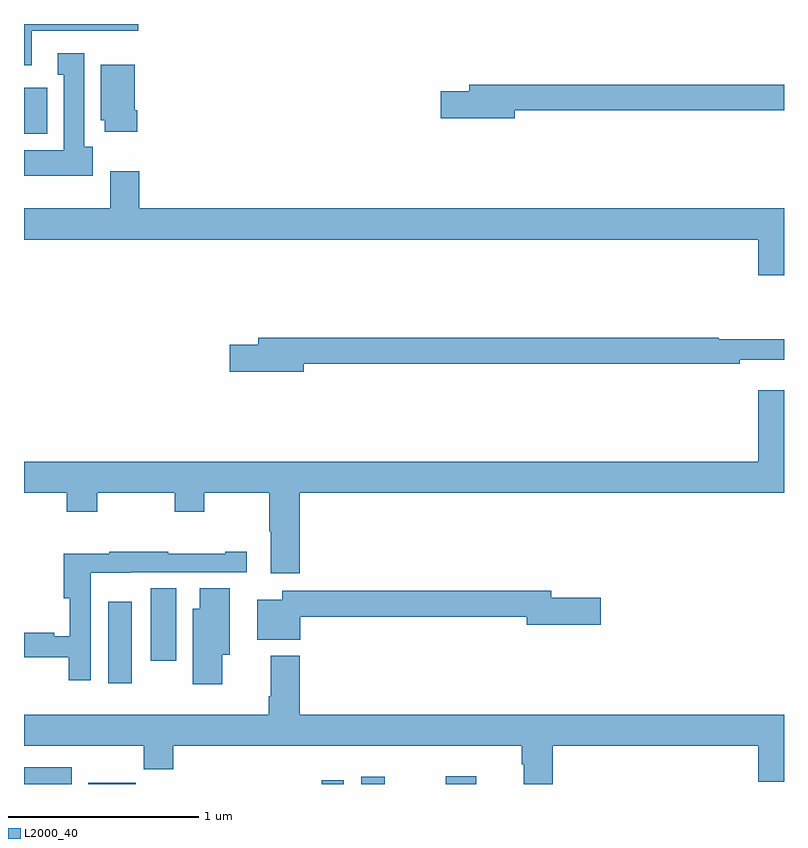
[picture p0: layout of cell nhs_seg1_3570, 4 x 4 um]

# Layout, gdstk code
import gdstk
lib = gdstk.Library(unit=1e-6, precision=1e-09)
def R(c, l, rs):  # rectangles x0, y0, x1, y1
    for r in rs: c.add(gdstk.rectangle(r[:2], r[2:], *l))
def P(c, l, *ps):  # polygons
    for p in ps: c.add(gdstk.Polygon(p, *l))
L2000_40 = (2000, 40)

nhs_seg1_3570 = lib.new_cell('nhs_seg1_3570')
R(nhs_seg1_3570, L2000_40, [(305,550.199,305.251,550.288), (305.339,550.199,305.588,550.206), (306.568,550.199,306.684,550.219), (306.776,550.199,306.898,550.237), (307.22,550.199,307.381,550.24), (305.444,550.728,305.566,551.158), (305.666,550.848,305.8,551.228), (305,553.622,305.122,553.864)])
P(nhs_seg1_3570, L2000_40, [(305.041,554.163),(305.602,554.163),(305.602,554.199),(305,554.199),(305,553.982),(305.041,553.982)],
  [(305.362,553.554),(305.317,553.554),(305.317,554.044),(305.177,554.044),(305.177,553.931),(305.21,553.931),(305.21,553.534),(305,553.534),(305,553.4),(305.362,553.4)],
  [(305.597,553.744),(305.584,553.744),(305.584,553.984),(305.405,553.984),(305.405,553.692),(305.426,553.692),(305.426,553.632),(305.597,553.632)],
  [(307.582,553.744),(309,553.744),(309,553.88),(307.343,553.88),(307.343,553.844),(307.194,553.844),(307.194,553.702),(307.582,553.702)],
  [(309,553.228),(305.606,553.228),(305.606,553.423),(305.453,553.423),(305.453,553.228),(305,553.228),(305,553.064),(308.864,553.064),(308.864,552.876),(309,552.876)],
  [(306.472,552.412),(308.768,552.412),(308.768,552.431),(309,552.431),(309,552.541),(308.656,552.541),(308.656,552.548),(306.233,552.548),(306.233,552.512),(306.084,552.512),(306.084,552.37),(306.472,552.37)],
  [(305,551.732),(305.225,551.732),(305.225,551.633),(305.385,551.633),(305.385,551.732),(305.794,551.732),(305.794,551.633),(305.949,551.633),(305.949,551.732),(306.292,551.732),(306.292,551.528),(306.299,551.528),(306.299,551.307),(306.452,551.307),(306.452,551.732),(309,551.732),(309,552.271),(308.864,552.271),(308.864,551.896),(305,551.896)],
  [(305.352,551.312),(305.562,551.312),(305.562,551.313),(306.172,551.313),(306.172,551.422),(306.059,551.422),(306.059,551.412),(305.759,551.412),(305.759,551.422),(305.449,551.422),(305.449,551.412),(305.21,551.412),(305.21,551.177),(305.24,551.177),(305.24,550.976),(305.159,550.976),(305.159,550.994),(305,550.994),(305,550.866),(305.236,550.866),(305.236,550.746),(305.352,550.746)],
  [(306.043,550.88),(306.082,550.88),(306.082,551.228),(305.924,551.228),(305.924,551.122),(305.888,551.122),(305.888,550.725),(306.043,550.725)],
  [(306.454,551.08),(307.646,551.08),(307.646,551.038),(308.035,551.038),(308.035,551.18),(307.774,551.18),(307.774,551.216),(306.36,551.216),(306.36,551.17),(306.227,551.17),(306.227,550.958),(306.454,550.958)],
  [(307.619,550.304),(307.631,550.304),(307.631,550.199),(307.784,550.199),(307.784,550.4),(308.864,550.4),(308.864,550.212),(309,550.212),(309,550.564),(306.452,550.564),(306.452,550.873),(306.299,550.873),(306.299,550.66),(306.287,550.66),(306.287,550.564),(305,550.564),(305,550.4),(305.629,550.4),(305.629,550.276),(305.786,550.276),(305.786,550.4),(307.619,550.4)])

lib.write_gds('nhs_seg1_3570.gds')
